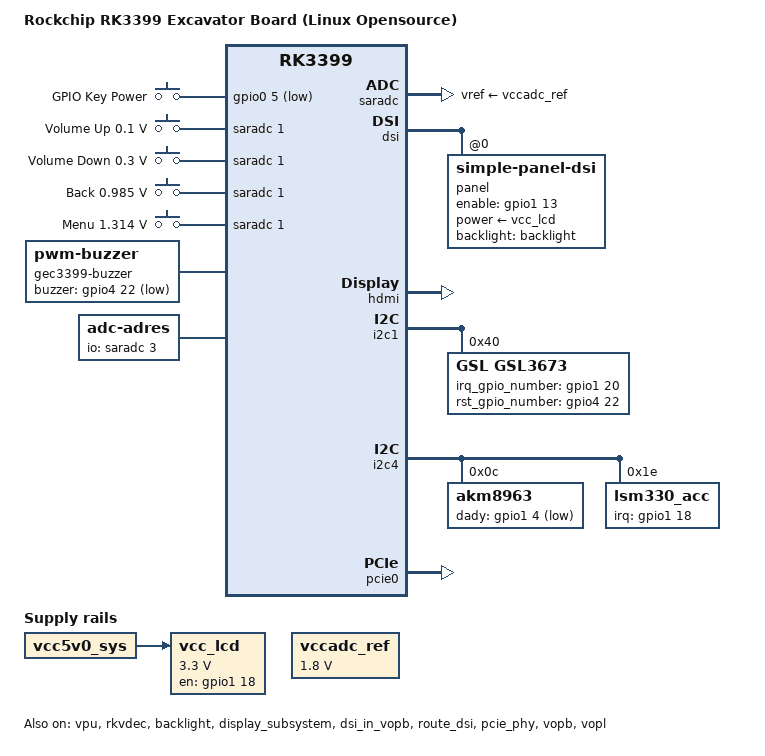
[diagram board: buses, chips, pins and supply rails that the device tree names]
/*
 * Copyright (c) 2016 Fuzhou Rockchip Electronics Co., Ltd
 *
 * This file is dual-licensed: you can use it either under the terms
 * of the GPL or the X11 license, at your option. Note that this dual
 * licensing only applies to this file, and not this project as a
 * whole.
 *
 *  a) This file is free software; you can redistribute it and/or
 *     modify it under the terms of the GNU General Public License as
 *     published by the Free Software Foundation; either version 2 of the
 *     License, or (at your option) any later version.
 *
 *     This file is distributed in the hope that it will be useful,
 *     but WITHOUT ANY WARRANTY; without even the implied warranty of
 *     MERCHANTABILITY or FITNESS FOR A PARTICULAR PURPOSE.  See the
 *     GNU General Public License for more details.
 *
 * Or, alternatively,
 *
 *  b) Permission is hereby granted, free of charge, to any person
 *     obtaining a copy of this software and associated documentation
 *     files (the "Software"), to deal in the Software without
 *     restriction, including without limitation the rights to use,
 *     copy, modify, merge, publish, distribute, sublicense, and/or
 *     sell copies of the Software, and to permit persons to whom the
 *     Software is furnished to do so, subject to the following
 *     conditions:
 *
 *     The above copyright notice and this permission notice shall be
 *     included in all copies or substantial portions of the Software.
 *
 *     THE SOFTWARE IS PROVIDED "AS IS", WITHOUT WARRANTY OF ANY KIND,
 *     EXPRESS OR IMPLIED, INCLUDING BUT NOT LIMITED TO THE WARRANTIES
 *     OF MERCHANTABILITY, FITNESS FOR A PARTICULAR PURPOSE AND
 *     NONINFRINGEMENT. IN NO EVENT SHALL THE AUTHORS OR COPYRIGHT
 *     HOLDERS BE LIABLE FOR ANY CLAIM, DAMAGES OR OTHER LIABILITY,
 *     WHETHER IN AN ACTION OF CONTRACT, TORT OR OTHERWISE, ARISING
 *     FROM, OUT OF OR IN CONNECTION WITH THE SOFTWARE OR THE USE OR
 *     OTHER DEALINGS IN THE SOFTWARE.
 */

/dts-v1/;

#include "rk3399-excavator-sapphire.dtsi"
#include "rk3399-linux.dtsi"
#include <dt-bindings/input/input.h>

#define S3C2410_GPF(_nr)	((5<<16) + (_nr))

/ {
	model = "Rockchip RK3399 Excavator Board (Linux Opensource)";
	compatible = "rockchip,rk3399-excavator-linux", "rockchip,rk3399";

	fiq_debugger: fiq-debugger {
		compatible = "rockchip,fiq-debugger";
		rockchip,serial-id = <2>;
		rockchip,signal-irq = <182>;
		rockchip,wake-irq = <0>;
		rockchip,irq-mode-enable = <1>;  /* If enable uart uses irq instead of fiq */
		rockchip,baudrate = <1500000>;  /* Only 115200 and 1500000 */
		pinctrl-names = "default";
		pinctrl-0 = <&uart2c_xfer>;
	};
	
	vcc_lcd: vcc-lcd {
		compatible = "regulator-fixed";
		regulator-name = "vcc_lcd";
		gpio = <&gpio1 18 GPIO_ACTIVE_HIGH>;
		startup-delay-us = <20000>;
		enable-active-high;
		regulator-min-microvolt = <3300000>;
		regulator-max-microvolt = <3300000>;
		regulator-boot-on;
		vin-supply = <&vcc5v0_sys>;
	};

  leds: gpio-leds {
		compatible = "gpio-leds";
/*
		red {
			gpios = <&gpio2 4 GPIO_ACTIVE_HIGH>;
			label = "red-led";
			pinctrl-names = "default";
			pinctrl-0 = <&led_ctl_red>;
			default-state = "off";
		};

		green {
			gpios = <&gpio2 2 GPIO_ACTIVE_HIGH>;
			label = "green-led";
			pinctrl-names = "default";
			pinctrl-0 = <&led_ctl_green>;
			default-state = "off";
		};

		blue {
			gpios = <&gpio4 30 GPIO_ACTIVE_HIGH>;
			label = "blue-led";
			pinctrl-names = "default";
			pinctrl-0 = <&led_ctl_blue>;
			default-state = "off";
		};
*/
  };

	hdmi_sound: hdmi-sound {
		status = "okay";
	};

	gpio-keys {
		compatible = "gpio-keys";
		#address-cells = <1>;
		#size-cells = <0>;
		autorepeat;

		pinctrl-names = "default";
		pinctrl-0 = <&pwrbtn>;

		button@0 {
			gpios = <&gpio0 5 GPIO_ACTIVE_LOW>;
			linux,code = <KEY_POWER>;
			label = "GPIO Key Power";
			linux,input-type = <1>;
			gpio-key,wakeup = <1>;
			debounce-interval = <100>;
		};
	};

	vccadc_ref: vccadc-ref {
		compatible = "regulator-fixed";
		regulator-name = "vcc1v8_sys";
		regulator-always-on;
		regulator-boot-on;
		regulator-min-microvolt = <1800000>;
		regulator-max-microvolt = <1800000>;
	};

	adc-keys {
		compatible = "adc-keys";
		io-channels = <&saradc 1>;
		io-channel-names = "buttons";
		poll-interval = <100>;
		keyup-threshold-microvolt = <1800000>;

		button-up {
			label = "Volume Up";
			linux,code = <KEY_VOLUMEUP>;
			press-threshold-microvolt = <100000>;
		};

		button-down {
			label = "Volume Down";
			linux,code = <KEY_VOLUMEDOWN>;
			press-threshold-microvolt = <300000>;
		};

		back {
			label = "Back";
			linux,code = <KEY_BACK>;
			press-threshold-microvolt = <985000>;
		};

		menu {
			label = "Menu";
			linux,code = <KEY_MENU>;
			press-threshold-microvolt = <1314000>;
		};
	};
	
	gec3399-buzzer {
		status = "disabled";
		compatible = "gpio-buzzer";
		gpio-buzzer = <&gpio4 22 GPIO_ACTIVE_LOW>;
	};
	gec3399-buzzer {
		status = "okay";
		compatible = "pwm-buzzer";
		pwm-buzzer = <0x1>;
	};
	
	adc-adres {
		status = "okay";
		compatible = "adc-adres";
		io-channels = <&saradc 3>;
	};
};

&cif_isp0 {
	rockchip,camera-modules-attached =
		<&camera0 &camera1 &camera2 &camera3>;
	status = "disabled";
};

&isp0_mmu {
	status = "disabled";
};

&cif_isp1 {
	rockchip,camera-modules-attached = <&camera4>;
	status = "disabled";
};

&isp1_mmu {
	status = "disabled";
};

&saradc {
	vref-supply = <&vccadc_ref>;
};

&vpu {
	status = "okay";
	/* 0 means ion, 1 means drm */
	//allocator = <0>;
};

&rkvdec {
	status = "okay";
	/* 0 means ion, 1 means drm */
	//allocator = <0>;
};

&dsi {
	status = "okay";
	/*rockchip,dual-channel = <&dsi1>;*/
	panel@0 {
		compatible ="simple-panel-dsi";
		reg = <0>;
		backlight = <&backlight>;
		power-supply = <&vcc_lcd>;
		enable-gpios = <&gpio1 13 GPIO_ACTIVE_HIGH>;
		//reset-gpios = <&gpio2 2 GPIO_ACTIVE_LOW>;
		prepare-delay-ms = <50>;
		reset-delay-ms = <50>;
		init-delay-ms = <50>;
		enable-delay-ms = <50>;
		disable-delay-ms = <50>;
		unprepare-delay-ms = <50>;
	
		dsi,flags = <(MIPI_DSI_MODE_VIDEO | MIPI_DSI_MODE_VIDEO_BURST | MIPI_DSI_MODE_LPM | MIPI_DSI_MODE_EOT_PACKET)>;
		dsi,format = <MIPI_DSI_FMT_RGB888>;
		dsi,lanes = <4>;
		status = "okay";
	panel-init-sequence = [
			05 2e 01 01
			15 00 02 80 8B//AC
			15 00 02 81 FF//BB
			15 00 02 82 3C//09
			15 00 02 83 FF//78
			15 00 02 84 CA//7F
			15 00 02 85 AF//BB
			15 00 02 86 B5//70
			05 FF 01 11
			05 14 01 29
	];
	display-timings {
			native-mode = <&timing0>;
			timing0: timing0 {
				clock-frequency = <51200000>;
				hactive = <1024>;
				vactive = <600>;
				hback-porch = <160>;
				hfront-porch = <160>;
				vback-porch = <23>;
				vfront-porch = <12>;
				hsync-len = <10>;
				vsync-len = <1>;
				hsync-active = <0>;
				vsync-active = <0>;
				de-active = <0>;
				pixelclk-active = <0>;
			};
		};
	};
};

&backlight {
	status = "okay";
	enable-gpios = <&gpio1 1 GPIO_ACTIVE_HIGH>;
};

&display_subsystem {
	status = "okay";
};

&dsi_in_vopl {
	status = "disabled";
};

&dsi_in_vopb {
	status = "okay";
};

&route_dsi {
	status = "okay";
	connect = <&vopb_out_dsi>;
};

&hdmi {
	/* remove the hdmi_cec, reused by edp_hpd */
	pinctrl-0 = <&hdmi_i2c_xfer>;
	#address-cells = <1>;
	#size-cells = <0>;
	#sound-dai-cells = <0>;
	status = "okay";
};

&i2c1 {
	status = "okay";

	gsl3673: gsl3673@40 {
		compatible = "GSL,GSL3673";
		reg = <0x40>;
		screen_max_x = <1536>;
		screen_max_y = <2048>;
		irq_gpio_number = <&gpio1 20 IRQ_TYPE_LEVEL_LOW>;
		rst_gpio_number = <&gpio4 22 GPIO_ACTIVE_HIGH>;
	};

	camera0: camera-module@60 {
		status = "disabled";
		compatible = "ovti,ov7750-v4l2-i2c-subdev";
		reg = < 0x60 >;
		device_type = "v4l2-i2c-subdev";

		clocks = <&cru SCLK_CIF_OUT>;
		clock-names = "clk_cif_out";

		pinctrl-names = "rockchip,camera_default",
			"rockchip,camera_sleep";
		pinctrl-0 = <&cam0_default_pins>;
		pinctrl-1 = <&cam0_sleep_pins>;

		rockchip,pwr-gpio = <&gpio2 10 GPIO_ACTIVE_HIGH>;
		rockchip,camera-module-mclk-name = "clk_cif_out";
		rockchip,camera-module-facing = "back";
		rockchip,camera-module-name = "cmk-cb0695-fv1";
		rockchip,camera-module-len-name = "lg9569a2";
		rockchip,camera-module-fov-h = "133.0";
		rockchip,camera-module-fov-v = "100.1";
		rockchip,camera-module-orientation = <0>;
		rockchip,camera-module-iq-flip = <0>;
		rockchip,camera-module-iq-mirror = <0>;
		rockchip,camera-module-flip = <0>;
		rockchip,camera-module-mirror = <0>;

		rockchip,camera-module-defrect0 = <640 480 0 0 640 480>;
		rockchip,camera-module-defrect1 = <640 480 0 0 640 480>;
		rockchip,camera-module-defrect2 = <640 480 0 0 640 480>;
		rockchip,camera-module-defrect3 = <640 480 0 0 640 480>;
		rockchip,camera-module-flash-support = <0>;
		rockchip,camera-module-mipi-dphy-index = <0>;
	};

	camera1: camera-module@1 {
		status = "disabled";
		compatible = "toshiba,tc358749xbg-v4l2-i2c-subdev";
		reg = < 0x0f >;
		device_type = "v4l2-i2c-subdev";

		clocks = <&cru SCLK_CIF_OUT>;
		clock-names = "clk_cif_out";

		pinctrl-names = "default";
		pinctrl-0 = <&hdmiin_gpios>;

		//rockchip,pwr-gpio = <&gpio2 6 GPIO_ACTIVE_HIGH>;
		//rckchip,pwr-snd-gpio = <&gpio2 9 GPIO_ACTIVE_HIGH>;
		//rockchip,pwr-trd-gpio = <&gpio2 5 GPIO_ACTIVE_HIGH>;
		//rockchip,rst-gpio = <&gpio2 7 GPIO_ACTIVE_HIGH>;
		power-gpios = <&gpio2 6 GPIO_ACTIVE_HIGH>;
		power18-gpios = <&gpio2 9 GPIO_ACTIVE_HIGH>;
		power33-gpios = <&gpio2 5 GPIO_ACTIVE_HIGH>;
		csi-ctl-gpios = <&gpio2 10 GPIO_ACTIVE_HIGH>;
		stanby-gpios = <&gpio2 8 GPIO_ACTIVE_HIGH>;
		reset-gpios = <&gpio2 7 GPIO_ACTIVE_HIGH>;
		int-gpios = <&gpio2 12 GPIO_ACTIVE_HIGH>;

		rockchip,camera-module-mclk-name = "clk_cif_out";
		rockchip,camera-module-mipi-dphy-index = <0>;
	};

	camera2: camera-module@10 {
		status = "disabled";
		compatible = "omnivision,ov13850-v4l2-i2c-subdev";
		reg = < 0x10 >;
		device_type = "v4l2-i2c-subdev";
		clocks = <&cru SCLK_CIF_OUT>;
		clock-names = "clk_cif_out";
		pinctrl-names = "rockchip,camera_default",
				"rockchip,camera_sleep";
		pinctrl-0 = <&cam0_default_pins>;
		pinctrl-1 = <&cam0_sleep_pins>;
		rockchip,pd-gpio = <&gpio1 4 GPIO_ACTIVE_LOW>;
		//rockchip,pwr-gpio = <&gpio2 10 GPIO_ACTIVE_HIGH>;
		/* mipi switch control */
		rockchip,rst-gpio = <&gpio2 10 GPIO_ACTIVE_LOW>;
		rockchip,camera-module-mclk-name = "clk_cif_out";
		rockchip,camera-module-facing = "back";
		rockchip,camera-module-name = "cmk-cb0695-fv1";
		rockchip,camera-module-len-name = "lg9569a2";
		rockchip,camera-module-fov-h = "66.0";
		rockchip,camera-module-fov-v = "50.1";
		rockchip,camera-module-orientation = <0>;
		rockchip,camera-module-iq-flip = <0>;
		rockchip,camera-module-iq-mirror = <0>;
		rockchip,camera-module-flip = <1>;
		rockchip,camera-module-mirror = <0>;

		rockchip,camera-module-defrect0 = <2112 1568 0 0 2112 1568>;
		rockchip,camera-module-defrect1 = <4224 3136 0 0 4224 3136>;
		rockchip,camera-module-defrect3 = <3264 2448 0 0 3264 2448>;
		rockchip,camera-module-flash-support = <1>;
		rockchip,camera-module-mipi-dphy-index = <0>;
	};

	camera3: camera-module@36 {
		status = "disabled";
		compatible = "omnivision,ov4689-v4l2-i2c-subdev";
		reg = <0x36>;
		device_type = "v4l2-i2c-subdev";
		clocks = <&cru SCLK_CIF_OUT>;
		clock-names = "clk_cif_out";
		pinctrl-names = "rockchip,camera_default",
				"rockchip,camera_sleep";
		pinctrl-0 = <&cam0_default_pins>;
		pinctrl-1 = <&cam0_sleep_pins>;
		rockchip,pd-gpio = <&gpio1 4 GPIO_ACTIVE_LOW>;
		//rockchip,pwr-gpio = <&gpio3 13 0>;
		/* mipi switch control*/
		rockchip,rst-gpio = <&gpio2 10 GPIO_ACTIVE_LOW>;
		rockchip,camera-module-mclk-name = "clk_cif_out";
		rockchip,camera-module-facing = "back";
		rockchip,camera-module-name = "LA6111PA";
		rockchip,camera-module-len-name = "YM6011P";
		rockchip,camera-module-fov-h = "116";
		rockchip,camera-module-fov-v = "61";
		rockchip,camera-module-orientation = <0>;
		rockchip,camera-module-iq-flip = <0>;
		rockchip,camera-module-iq-mirror = <0>;
		rockchip,camera-module-flip = <0>;
		rockchip,camera-module-mirror = <1>;

		rockchip,camera-module-defrect0 = <2688 1520 0 0 2688 1520>;
		rockchip,camera-module-flash-support = <0>;
		rockchip,camera-module-mipi-dphy-index = <0>;
	};
};

&i2c4 {
	status = "okay";

	camera4: camera-module@2 {
		status = "disabled";
		compatible = "adi,adv7181-v4l2-i2c-subdev";
		reg = < 0x21 >;
		device_type = "v4l2-i2c-subdev";

		clocks = <&cru SCLK_CIF_OUT>;
		clock-names = "clk_cif_out";

		pinctrl-names = "rockchip,camera_default",
			"rockchip,camera_sleep";
		pinctrl-0 = <&isp_dvp_d0d7>;
		pinctrl-1 = <&cam0_sleep_pins>;

		rockchip,camera-module-defrect0 = <720 480 0 13 720 480>;
		rockchip,camera-module-defrect1 = <720 576 0 0 720 576>;
		rockchip,camera-module-mclk-name = "clk_cif_out";
		rockchip,camera-module-mipi-dphy-index = <1>;
	};
	
	akm8963: akm8963@0c{
		status = "okay";
		compatible = "akm8963";
		reg = <0x0c>;
		dady-gpio = <&gpio1 4 GPIO_ACTIVE_LOW>;	//器件准备脚
		type = <3>;	//电子罗盘compass在rk sensors core层的类型编号(dt-bindings/sensor-dev.h)
	};

	lsm330_acc:lsm330_acc@1e {
		status = "okay";
		compatible = "lsm330_acc";	//lsm330是一个6轴设备,lsm330_acc是指仅将lsm330模拟成加速度设备.
		reg = <0x1e>;
		irq-gpio = <&gpio1 18 IRQ_TYPE_EDGE_RISING>;	//1_d0
		irq_enable = <1>;
		type = <2>;
	};
};

&pcie_phy {
	status = "okay";
};

&pcie0 {
	status = "okay";
};

&vopb {
	status = "okay";
};

&vopb_mmu {
	status = "okay";
};

&vopl {
	status = "okay";
};

&vopl_mmu {
	status = "okay";
};

&pinctrl {
	buttons {
		pwrbtn: pwrbtn {
			rockchip,pins = <0 5 RK_FUNC_GPIO &pcfg_pull_up>;
		};
	};

	lcd-panel {
		lcd_panel_reset: lcd-panel-reset {
			rockchip,pins = <2 2 RK_FUNC_GPIO &pcfg_pull_up>;
		};
	};
/*
	leds {
		led_ctl_red: led-ctl-red {
			rockchip,pins = <2 4 RK_FUNC_GPIO &pcfg_pull_none>;
		};
		led_ctl_green: led-ctl-green {
			rockchip,pins = <2 2 RK_FUNC_GPIO &pcfg_pull_none>;
		};
		led_ctl_blue: led-ctl-blue {
			rockchip,pins = <4 30 RK_FUNC_GPIO &pcfg_pull_none>;
		};
	};
*/
	hdmiin {
		hdmiin_gpios: hdmiin-gpios {
			rockchip,pins =
				<2 5 RK_FUNC_GPIO &pcfg_pull_none>,
				<2 6 RK_FUNC_GPIO &pcfg_pull_none>,
				<2 7 RK_FUNC_GPIO &pcfg_pull_none>,
				<2 8 RK_FUNC_GPIO &pcfg_pull_none>,
				<2 9 RK_FUNC_GPIO &pcfg_pull_none>,
				<2 12 RK_FUNC_GPIO &pcfg_pull_none>;
		};
	};
};
